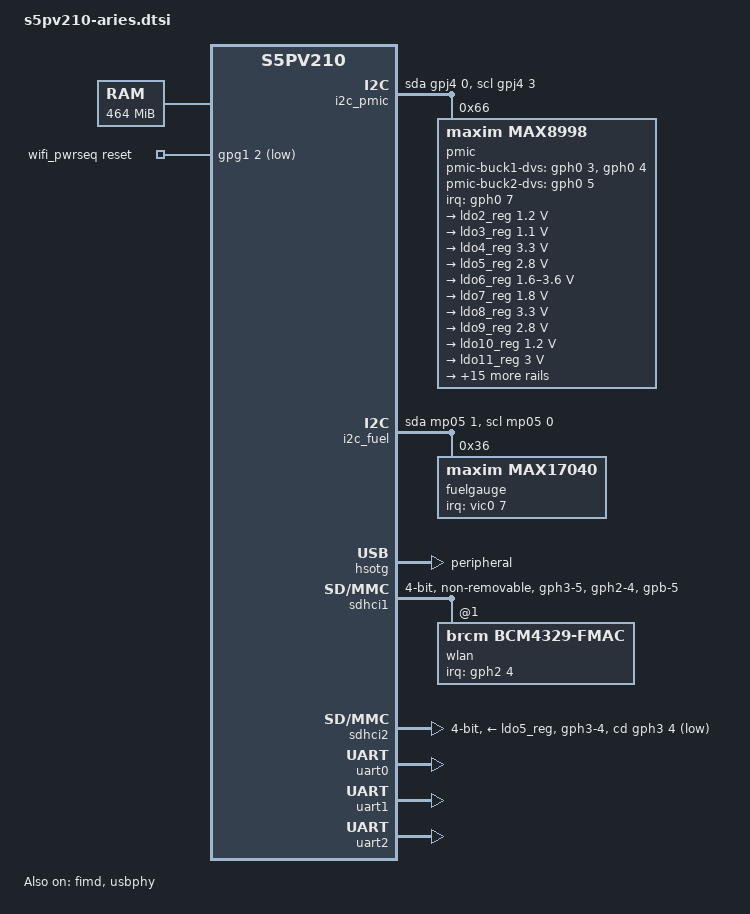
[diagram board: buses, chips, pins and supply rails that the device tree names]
// SPDX-License-Identifier: GPL-2.0
/*
 * Samsung's S5PV210 based Galaxy Aries board device tree source
 */

/dts-v1/;
#include <dt-bindings/gpio/gpio.h>
#include <dt-bindings/interrupt-controller/irq.h>
#include "s5pv210.dtsi"

/ {
	compatible = "samsung,aries", "samsung,s5pv210";

	aliases {
		i2c6 = &i2c_pmic;
		i2c9 = &i2c_fuel;
	};

	memory@30000000 {
		device_type = "memory";
		reg = <0x30000000 0x05000000
			0x40000000 0x10000000
			0x50000000 0x08000000>;
	};

	wifi_pwrseq: wifi-pwrseq {
		compatible = "mmc-pwrseq-simple";
		reset-gpios = <&gpg1 2 GPIO_ACTIVE_LOW>;
		pinctrl-names = "default";
		pinctrl-0 = <&wlan_gpio_rst>;
		post-power-on-delay-ms = <500>;
		power-off-delay-us = <500>;
	};

	i2c_pmic: i2c-gpio-0 {
		compatible = "i2c-gpio";
		sda-gpios = <&gpj4 0 (GPIO_ACTIVE_HIGH | GPIO_OPEN_DRAIN)>;
		scl-gpios = <&gpj4 3 (GPIO_ACTIVE_HIGH | GPIO_OPEN_DRAIN)>;
		i2c-gpio,delay-us = <2>;
		#address-cells = <1>;
		#size-cells = <0>;

		pmic@66 {
			compatible = "maxim,max8998";
			reg = <0x66>;
			interrupt-parent = <&gph0>;
			interrupts = <7 IRQ_TYPE_EDGE_FALLING>;

			max8998,pmic-buck1-default-dvs-idx = <1>;
			max8998,pmic-buck1-dvs-gpios = <&gph0 3 GPIO_ACTIVE_HIGH>,
							<&gph0 4 GPIO_ACTIVE_HIGH>;
			max8998,pmic-buck1-dvs-voltage = <1275000>, <1200000>,
							<1050000>, <950000>;

			max8998,pmic-buck2-default-dvs-idx = <0>;
			max8998,pmic-buck2-dvs-gpio = <&gph0 5 GPIO_ACTIVE_HIGH>;
			max8998,pmic-buck2-dvs-voltage = <1100000>, <1000000>;

			regulators {
				ldo2_reg: LDO2 {
					regulator-name = "VALIVE_1.2V";
					regulator-min-microvolt = <1200000>;
					regulator-max-microvolt = <1200000>;
					regulator-always-on;

					regulator-state-mem {
						regulator-on-in-suspend;
					};
				};

				ldo3_reg: LDO3 {
					regulator-name = "VUSB_1.1V";
					regulator-min-microvolt = <1100000>;
					regulator-max-microvolt = <1100000>;

					regulator-state-mem {
						regulator-off-in-suspend;
					};
				};

				ldo4_reg: LDO4 {
					regulator-name = "VADC_3.3V";
					regulator-min-microvolt = <3300000>;
					regulator-max-microvolt = <3300000>;
					regulator-always-on;

					regulator-state-mem {
						regulator-off-in-suspend;
					};
				};

				ldo5_reg: LDO5 {
					regulator-name = "VTF_2.8V";
					regulator-min-microvolt = <2800000>;
					regulator-max-microvolt = <2800000>;

					regulator-state-mem {
						regulator-off-in-suspend;
					};
				};

				ldo6_reg: LDO6 {
					regulator-name = "LDO6";
					regulator-min-microvolt = <1600000>;
					regulator-max-microvolt = <3600000>;
				};

				ldo7_reg: LDO7 {
					regulator-name = "VLCD_1.8V";
					regulator-min-microvolt = <1800000>;
					regulator-max-microvolt = <1800000>;
					/* Till we get panel driver */
					regulator-always-on;

					regulator-state-mem {
						regulator-off-in-suspend;
					};
				};

				ldo8_reg: LDO8 {
					regulator-name = "VUSB_3.3V";
					regulator-min-microvolt = <3300000>;
					regulator-max-microvolt = <3300000>;

					regulator-state-mem {
						regulator-off-in-suspend;
					};
				};

				ldo9_reg: LDO9 {
					regulator-name = "VCC_2.8V_PDA";
					regulator-min-microvolt = <2800000>;
					regulator-max-microvolt = <2800000>;
					regulator-always-on;
				};

				ldo10_reg: LDO10 {
					regulator-name = "VPLL_1.2V";
					regulator-min-microvolt = <1200000>;
					regulator-max-microvolt = <1200000>;
					regulator-always-on;

					regulator-state-mem {
						regulator-on-in-suspend;
					};
				};

				ldo11_reg: LDO11 {
					regulator-name = "CAM_AF_3.0V";
					regulator-min-microvolt = <3000000>;
					regulator-max-microvolt = <3000000>;

					regulator-state-mem {
						regulator-off-in-suspend;
					};
				};

				ldo12_reg: LDO12 {
					regulator-name = "CAM_SENSOR_CORE_1.2V";
					regulator-min-microvolt = <1200000>;
					regulator-max-microvolt = <1200000>;

					regulator-state-mem {
						regulator-off-in-suspend;
					};
				};

				ldo13_reg: LDO13 {
					regulator-name = "VGA_VDDIO_2.8V";
					regulator-min-microvolt = <2800000>;
					regulator-max-microvolt = <2800000>;

					regulator-state-mem {
						regulator-off-in-suspend;
					};
				};

				ldo14_reg: LDO14 {
					regulator-name = "VGA_DVDD_1.8V";
					regulator-min-microvolt = <1800000>;
					regulator-max-microvolt = <1800000>;

					regulator-state-mem {
						regulator-off-in-suspend;
					};
				};

				ldo15_reg: LDO15 {
					regulator-name = "CAM_ISP_HOST_2.8V";
					regulator-min-microvolt = <2800000>;
					regulator-max-microvolt = <2800000>;

					regulator-state-mem {
						regulator-off-in-suspend;
					};
				};

				ldo16_reg: LDO16 {
					regulator-name = "VGA_AVDD_2.8V";
					regulator-min-microvolt = <2800000>;
					regulator-max-microvolt = <2800000>;

					regulator-state-mem {
						regulator-off-in-suspend;
					};
				};

				ldo17_reg: LDO17 {
					regulator-name = "VCC_3.0V_LCD";
					regulator-min-microvolt = <3000000>;
					regulator-max-microvolt = <3000000>;
					/* Till we get panel driver */
					regulator-always-on;

					regulator-state-mem {
						regulator-off-in-suspend;
					};
				};

				buck1_reg: BUCK1 {
					regulator-name = "vddarm";
					regulator-min-microvolt = <750000>;
					regulator-max-microvolt = <1500000>;

					regulator-state-mem {
						regulator-off-in-suspend;
						regulator-suspend-microvolt = <1250000>;
					};
				};

				buck2_reg: BUCK2 {
					regulator-name = "vddint";
					regulator-min-microvolt = <750000>;
					regulator-max-microvolt = <1500000>;

					regulator-state-mem {
						regulator-off-in-suspend;
						regulator-suspend-microvolt = <1100000>;
					};
				};

				buck3_reg: BUCK3 {
					regulator-name = "VCC_1.8V";
					regulator-min-microvolt = <1800000>;
					regulator-max-microvolt = <1800000>;
					regulator-always-on;
				};

				buck4_reg: BUCK4 {
					regulator-name = "CAM_ISP_CORE_1.2V";
					regulator-min-microvolt = <1200000>;
					regulator-max-microvolt = <1200000>;

					regulator-state-mem {
						regulator-off-in-suspend;
					};
				};

				ap32khz_reg: EN32KHz-AP {
					regulator-name = "32KHz AP";
					regulator-always-on;
				};

				cp32khz_reg: EN32KHz-CP {
					regulator-name = "32KHz CP";
				};

				vichg_reg: ENVICHG {
					regulator-name = "VICHG";
					regulator-always-on;
				};

				safe1_sreg: ESAFEOUT1 {
					regulator-name = "SAFEOUT1";
				};

				safe2_sreg: ESAFEOUT2 {
					regulator-name = "SAFEOUT2";
				};
			};
		};
	};

	i2c_fuel: i2c-gpio-1 {
		compatible = "i2c-gpio";
		sda-gpios = <&mp05 1 (GPIO_ACTIVE_HIGH | GPIO_OPEN_DRAIN)>;
		scl-gpios = <&mp05 0 (GPIO_ACTIVE_HIGH | GPIO_OPEN_DRAIN)>;
		i2c-gpio,delay-us = <2>;
		#address-cells = <1>;
		#size-cells = <0>;

		fuelgauge@36 {
			compatible = "maxim,max17040";
			interrupt-parent = <&vic0>;
			interrupts = <7>;
			reg = <0x36>;
		};
	};
};

&fimd {
	pinctrl-names = "default";
	pinctrl-0 = <&lcd_clk &lcd_data24>;
	status = "okay";

	samsung,invert-vden;
	samsung,invert-vclk;

	display-timings {
		timing-0 {
			/* 480x800@60Hz */
			clock-frequency = <25628040>;
			hactive = <480>;
			vactive = <800>;
			hfront-porch = <16>;
			hback-porch = <16>;
			hsync-len = <2>;
			vfront-porch = <28>;
			vback-porch = <1>;
			vsync-len = <2>;
		};
	};
};

&hsotg {
	vusb_a-supply = <&ldo8_reg>;
	vusb_d-supply = <&ldo3_reg>;
	dr_mode = "peripheral";
	status = "okay";
};

&pinctrl0 {
	wlan_bt_en: wlan-bt-en {
		samsung,pins = "gpb-5";
		samsung,pin-function = <EXYNOS_PIN_FUNC_OUTPUT>;
		samsung,pin-pud = <S3C64XX_PIN_PULL_NONE>;
		samsung,pin-val = <1>;
	};

	wlan_gpio_rst: wlan-gpio-rst {
		samsung,pins = "gpg1-2";
		samsung,pin-function = <EXYNOS_PIN_FUNC_OUTPUT>;
		samsung,pin-pud = <S3C64XX_PIN_PULL_NONE>;
	};

	wifi_host_wake: wifi-host-wake {
		samsung,pins = "gph2-4";
		samsung,pin-function = <EXYNOS_PIN_FUNC_INPUT>;
		samsung,pin-pud = <S3C64XX_PIN_PULL_DOWN>;
		samsung,pin-drv = <EXYNOS4_PIN_DRV_LV1>;
	};

	tf_detect: tf-detect {
		samsung,pins = "gph3-4";
		samsung,pin-function = <EXYNOS_PIN_FUNC_INPUT>;
		samsung,pin-pud = <S3C64XX_PIN_PULL_DOWN>;
		samsung,pin-drv = <EXYNOS4_PIN_DRV_LV1>;
	};

	wifi_wake: wifi-wake {
		samsung,pins = "gph3-5";
		samsung,pin-function = <EXYNOS_PIN_FUNC_OUTPUT>;
		samsung,pin-pud = <S3C64XX_PIN_PULL_NONE>;
	};
};

&sdhci1 {
	#address-cells = <1>;
	#size-cells = <0>;

	bus-width = <4>;
	max-frequency = <38400000>;
	pinctrl-0 = <&sd1_clk &sd1_cmd &sd1_bus4 &wifi_wake &wifi_host_wake &wlan_bt_en>;
	pinctrl-names = "default";
	cap-sd-highspeed;
	cap-mmc-highspeed;

	mmc-pwrseq = <&wifi_pwrseq>;
	non-removable;
	status = "okay";

	wlan@1 {
		reg = <1>;
		compatible = "brcm,bcm4329-fmac";
		interrupt-parent = <&gph2>;
		interrupts = <4 IRQ_TYPE_LEVEL_HIGH>;
		interrupt-names = "host-wake";
	};
};

&sdhci2 {
	bus-width = <4>;
	cd-gpios = <&gph3 4 GPIO_ACTIVE_LOW>;
	vmmc-supply = <&ldo5_reg>;
	pinctrl-0 = <&sd2_clk &sd2_cmd &sd2_bus4 &tf_detect>;
	pinctrl-names = "default";
	status = "okay";
};

&uart0 {
	status = "okay";
};

&uart1 {
	status = "okay";
};

&uart2 {
	status = "okay";
};

&usbphy {
	status = "okay";
	vbus-supply = <&safe1_sreg>;
};

&xusbxti {
	clock-frequency = <24000000>;
};
